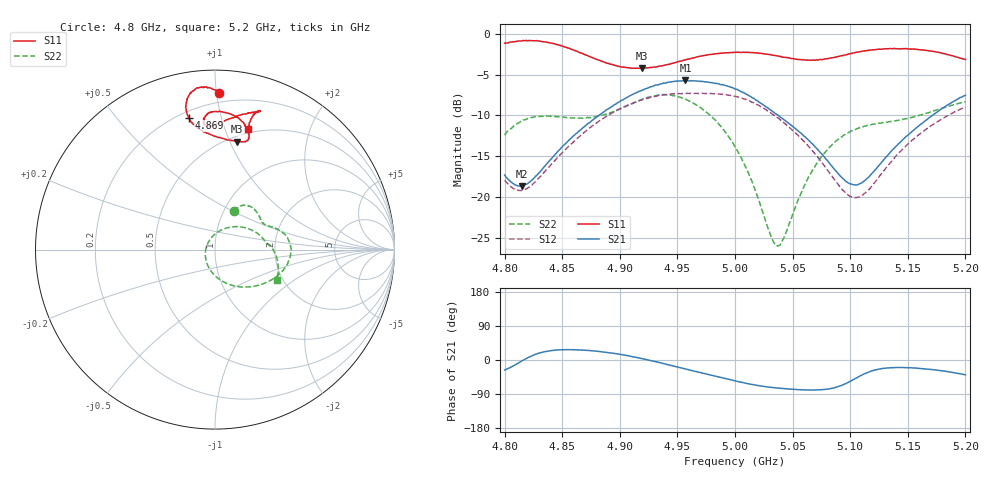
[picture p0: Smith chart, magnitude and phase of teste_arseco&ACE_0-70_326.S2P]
! Network Analyzer HP8722D
! Hewlett-Packard
! Data name: Linha & Wilkinson
! Saver's name: Rodrigo Anjos
! Comments: Teste da utilização de aquisição
! continua pelo VNA HP8722D
! Time and date: 8/5/2025 15:28
!  Frequency  S11  S21  S12  S22
# HZ  S  MA R 50
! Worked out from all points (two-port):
!   401 points, 4.8 GHz to 5.2 GHz, reference 50 ohm
!   highest |S21| = -5.71 dB at 4.957 GHz (marker M1); lowest = -18.7 dB at 4.815 GHz (marker M2)
!   |S21| within 3 dB of the highest: 4.895 GHz to 5.024 GHz (129.4 MHz wide, 2.61 % of centre); 5.184631 GHz to end of sweep
!   lowest |S11| = -4.2 dB at 4.919 GHz (marker M3), VSWR 4.17, Z = 27.6 + j53.1 ohm
!   |S11| at or under -10 dB: nowhere
!   |S22| runs from -26.0 to -7.4 dB; largest |S21 - S12| = 0.89
!   S11 on the Smith chart (normalised r, x): 4.8 GHz: 0.14, +1.02; 4.869 GHz: 0.24, +0.79; 5.2 GHz: 0.46, +1.20
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4.8e9  0.8751 88.4  0.1366 -26.5  0.1269 100.9  0.2395 63.9
4.815e9  0.9023 92.8  0.1166 -2.3  0.1101 122.0  0.291 57.5
4.845e9  0.8591 100.2  0.186 26.3  0.1717 150.1  0.3113 39.5
4.867e9  0.7586 101.4  0.2621 26.1  0.2416 153.4  0.3041 30.5
4.869e9  0.7477 101.3  0.2691 25.9  0.2485 153.2  0.3045 29.6
4.896e9  0.6387 91.8  0.3698 16.9  0.3352 147.3  0.3381 22.1
4.919e9  0.6132 78.5  0.4504 3.9  0.3922 137.6  0.3949 12.7
4.934e9  0.6331 73.6  0.488 -6.5  0.4188 129.1  0.4208 2.6
4.957e9  0.6926 74.8  0.5181 -23.7  0.4308 114.8  0.3983 -16.6
4.981e9  0.7496 81.1  0.5002 -41.2  0.4294 99.7  0.3042 -41.7
5e9  0.7696 87.4  0.4595 -55.0  0.4143 86.2  0.2033 -69.4
5.019e9  0.7627 92.4  0.39 -66.9  0.3694 73.1  0.1032 -110.8
5.031e9  0.7435 94.2  0.3403 -72.2  0.328 66.5  0.05806 -158.5
5.037e9  0.7295 94.9  0.3187 -74.0  0.3057 63.6  0.05007 163.1
5.042e9  0.7179 95.1  0.2995 -75.5  0.2868 62.0  0.05572 132.3
5.067e9  0.6896 92.6  0.2125 -79.2  0.193 57.9  0.1447 58.2
5.083e9  0.7093 87.8  0.1576 -75.3  0.138 63.3  0.2049 36.8
5.103e9  0.7627 79.2  0.1188 -51.4  0.09918 90.8  0.2576 19.4
5.115e9  0.7903 75.2  0.1308 -33.1  0.1091 111.8  0.2748 12.9
5.134e9  0.8093 72.2  0.1852 -20.6  0.1597 125.9  0.2895 7.2
5.17e9  0.7828 73.8  0.3106 -24.9  0.2729 120.4  0.3325 -2.6
5.2e9  0.6962 74.7  0.4198 -39.2  0.3566 108.8  0.3831 -25.8
